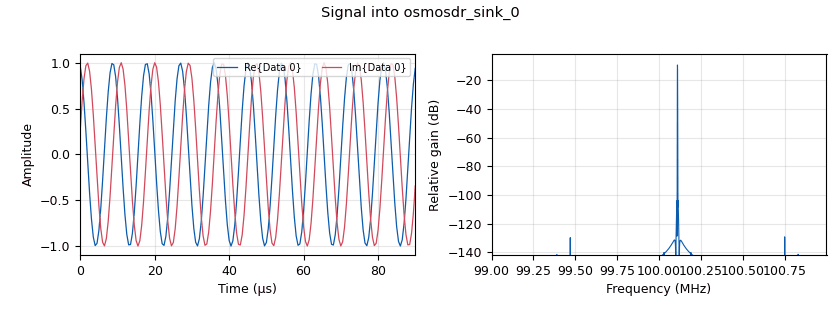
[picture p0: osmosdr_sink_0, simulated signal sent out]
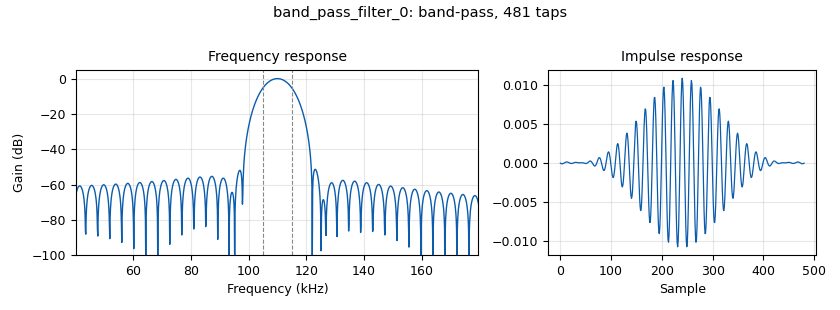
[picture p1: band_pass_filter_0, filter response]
options:
  parameters:
    generate_options: qt_gui
    id: filtering
    output_language: python
    title: Not titled yet
  states: {}

blocks:
- name: RX_Gain
  id: variable_qtgui_range
  parameters:
    orient: Qt.Horizontal
    start: '0'
    step: '10'
    stop: '100'
    value: '70'
  states: {}
- name: TX_Gain
  id: variable_qtgui_range
  parameters:
    orient: Qt.Horizontal
    start: '0'
    step: '10'
    stop: '100'
    value: '70'
  states: {}
- name: center_freq
  id: variable
  parameters:
    value: 100e6
  states: {}
- name: samp_rate
  id: variable
  parameters:
    value: 2e6
  states: {}
- name: analog_sig_source_x_0
  id: analog_sig_source_x
  parameters:
    amp: '1'
    freq: 110e3
    offset: '0'
    phase: '0'
    samp_rate: samp_rate
    type: complex
    waveform: analog.GR_SIN_WAVE
  states: {}
- name: band_pass_filter_0
  id: band_pass_filter
  parameters:
    decim: '1'
    gain: '1'
    high_cutoff_freq: 115e3
    low_cutoff_freq: 105e3
    samp_rate: samp_rate
    type: fir_filter_ccf
    width: 10e3
    win: firdes.WIN_HAMMING
  states: {}
- name: low_pass_filter_0
  id: low_pass_filter
  parameters:
    cutoff_freq: 150e3
    decim: '1'
    gain: '1'
    samp_rate: samp_rate
    type: fir_filter_ccf
    width: 20e3
    win: firdes.WIN_HAMMING
  states: {state: disabled}
- name: osmosdr_sink_0
  id: osmosdr_sink
  parameters:
    bb_gain0: '20'
    bw0: samp_rate
    freq0: center_freq
    gain0: TX_Gain
    if_gain0: '20'
    sample_rate: samp_rate
    sync: sync
    type: fc32
  states: {}
- name: qtgui_freq_sink_x_0
  id: qtgui_freq_sink_x
  parameters:
    bw: samp_rate
    ctrlpanel: 'True'
    fc: center_freq
    fftsize: '1024'
    type: complex
    wintype: firdes.WIN_BLACKMAN_hARRIS
  states: {}
- name: uhd_usrp_source_0
  id: uhd_usrp_source
  parameters:
    ant0: RX2
    bw0: samp_rate
    center_freq0: center_freq
    dc_offs_enb0: '""'
    dev_args: '""'
    gain0: RX_Gain
    iq_imbal_enb0: '""'
    norm_gain0: 'False'
    samp_rate: samp_rate
    sync: sync
    type: fc32
  states: {}

connections:
- [analog_sig_source_x_0, '0', osmosdr_sink_0, '0']
- [band_pass_filter_0, '0', qtgui_freq_sink_x_0, '0']
- [low_pass_filter_0, '0', qtgui_freq_sink_x_0, '0']
- [uhd_usrp_source_0, '0', band_pass_filter_0, '0']
- [uhd_usrp_source_0, '0', low_pass_filter_0, '0']

metadata:
  file_format: 1
